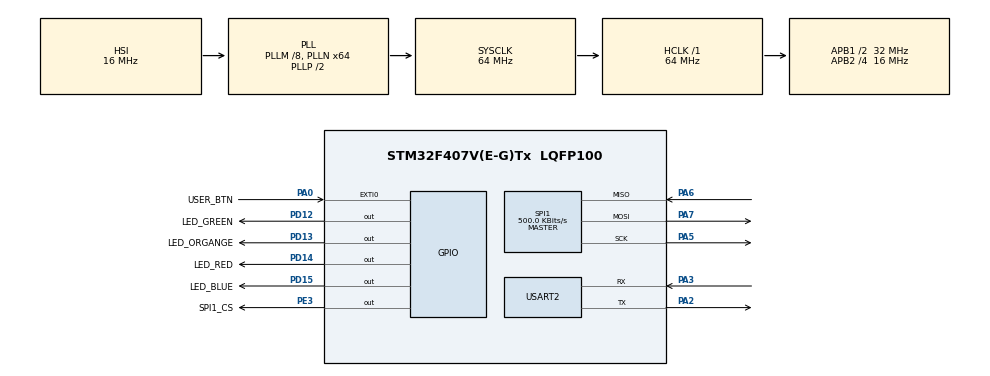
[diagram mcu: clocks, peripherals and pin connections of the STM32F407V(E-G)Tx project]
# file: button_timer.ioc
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ADC1.Channel-0\#ChannelRegularConversion=ADC_CHANNEL_TEMPSENSOR
ADC1.ContinuousConvMode=ENABLE
ADC1.DataAlign=ADC_DATAALIGN_LEFT
ADC1.NbrOfConversionFlag=1
ADC1.Rank-0\#ChannelRegularConversion=1
ADC1.Resolution=ADC_RESOLUTION_12B
ADC1.SamplingTime-0\#ChannelRegularConversion=ADC_SAMPLETIME_3CYCLES
ADC1.master=1
Dma.ADC1.0.Direction=DMA_PERIPH_TO_MEMORY
Dma.ADC1.0.FIFOMode=DMA_FIFOMODE_DISABLE
Dma.ADC1.0.Instance=DMA2_Stream0
Dma.ADC1.0.MemDataAlignment=DMA_MDATAALIGN_HALFWORD
Dma.ADC1.0.MemInc=DMA_MINC_ENABLE
Dma.ADC1.0.Mode=DMA_CIRCULAR
Dma.ADC1.0.PeriphDataAlignment=DMA_PDATAALIGN_HALFWORD
Dma.ADC1.0.PeriphInc=DMA_PINC_DISABLE
Dma.ADC1.0.Priority=DMA_PRIORITY_LOW
Dma.Request0=ADC1
FREERTOS.Tasks01=defaultTask,24,128,StartDefaultTask,Default,NULL,Dynamic,NULL,NULL
Mcu.Family=STM32F4
Mcu.Name=STM32F407V(E-G)Tx
Mcu.Package=LQFP100
NVIC.ADC_IRQn=true\:0\:0\:false\:false\:true\:false\:true\:true
NVIC.DMA2_Stream0_IRQn=true\:0\:0\:false\:false\:true\:false\:false\:true
NVIC.EXTI0_IRQn=true\:0\:0\:false\:false\:true\:false\:true\:true
NVIC.PriorityGroup=NVIC_PRIORITYGROUP_4
NVIC.TIM1_UP_TIM10_IRQn=true\:0\:0\:false\:false\:true\:false\:false\:true
NVIC.TimeBase=TIM1_UP_TIM10_IRQn
NVIC.TimeBaseIP=TIM1
NVIC.USART2_IRQn=true\:0\:0\:false\:false\:true\:false\:true\:true
PA0-WKUP.GPIO_Label=USER_BTN
PA0-WKUP.Signal=GPXTI0
PA13.Mode=Serial_Wire
PA13.Signal=SYS_JTMS-SWDIO
PA14.Mode=Serial_Wire
PA14.Signal=SYS_JTCK-SWCLK
PA2.Mode=Asynchronous
PA2.Signal=USART2_TX
PA3.Mode=Asynchronous
PA3.Signal=USART2_RX
PA5.Mode=Full_Duplex_Master
PA5.Signal=SPI1_SCK
PA6.Mode=Full_Duplex_Master
PA6.Signal=SPI1_MISO
PA7.Mode=Full_Duplex_Master
PA7.Signal=SPI1_MOSI
PD12.GPIO_Label=LED_GREEN
PD12.Signal=GPIO_Output
PD13.GPIO_Label=LED_ORGANGE
PD13.Signal=GPIO_Output
PD14.GPIO_Label=LED_RED
PD14.Signal=GPIO_Output
PD15.GPIO_Label=LED_BLUE
PD15.Signal=GPIO_Output
PE3.GPIO_Label=SPI1_CS
PE3.GPIO_PuPd=GPIO_PULLUP
PE3.PinState=GPIO_PIN_SET
PE3.Signal=GPIO_Output
ProjectManager.HeapSize=0x200
ProjectManager.StackSize=0x400
ProjectManager.TargetToolchain=MDK-ARM V5.27
RCC.48MHZClocksFreq_Value=32000000
RCC.AHBFreq_Value=64000000
RCC.APB1CLKDivider=RCC_HCLK_DIV2
RCC.APB1Freq_Value=32000000
RCC.APB1TimFreq_Value=64000000
RCC.APB2CLKDivider=RCC_HCLK_DIV4
RCC.APB2Freq_Value=16000000
RCC.APB2TimFreq_Value=32000000
RCC.CortexFreq_Value=64000000
RCC.HCLKFreq_Value=64000000
RCC.HSE_VALUE=25000000
RCC.HSI_VALUE=16000000
RCC.LSE_VALUE=32768
RCC.PLLM=8
RCC.PLLN=64
RCC.SYSCLKFreq_VALUE=64000000
RCC.SYSCLKSource=RCC_SYSCLKSOURCE_PLLCLK
RCC.VCOOutputFreq_Value=128000000
SPI1.BaudRatePrescaler=SPI_BAUDRATEPRESCALER_32
SPI1.CLKPhase=SPI_PHASE_2EDGE
SPI1.CLKPolarity=SPI_POLARITY_HIGH
SPI1.CalculateBaudRate=500.0 KBits/s
SPI1.Direction=SPI_DIRECTION_2LINES
SPI1.Mode=SPI_MODE_MASTER
SPI1.VirtualType=VM_MASTER
USART2.VirtualMode=VM_ASYNC
VP_ADC1_TempSens_Input.Mode=IN-TempSens
VP_FREERTOS_VS_CMSIS_V2.Mode=CMSIS_V2
VP_SYS_VS_tim1.Mode=TIM1
board=custom

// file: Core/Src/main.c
/* USER CODE BEGIN Header */
/**
  ******************************************************************************
  * @file           : main.c
  * @brief          : Main program body
  ******************************************************************************
  * @attention
  *
  * <h2><center>&copy; Copyright (c) 2020 STMicroelectronics.
  * All rights reserved.</center></h2>
  *
  * This software component is licensed by ST under BSD 3-Clause license,
  * the "License"; You may not use this file except in compliance with the
  * License. You may obtain a copy of the License at:
  *                        opensource.org/licenses/BSD-3-Clause
  *
  ******************************************************************************
  */
/* USER CODE END Header */
#include "main.h"
#include "cmsis_os.h"
#include "adc.h"
#include "spi.h"
#include "usart.h"
#include "gpio.h"

/* USER CODE BEGIN Includes */
#include "acc_sensor_driver.h"
#include "afproto_user.h"

/* USER CODE END Includes */

/* USER CODE BEGIN PTD */

/* Macro ON/OFF cac testcase */
#define TEST_UART_TX_RX
#define TEST_ACC_SPI

#define DEBOUCING_TIMER_INST    htim2
#define DEBOUCING_VALID_STATE   1

extern volatile uint8_t userBtnPressed;

static __IO uint32_t _debounced_counter = 0;
static uint16_t _active_debouced_pin = 0;

uint8_t _temp_raw_data = 0;
volatile uint8_t  adc_conv_done_flag = 0; // __IO
/* USER CODE END PTD */

/* USER CODE BEGIN PD */
#define GPIOD_ADDRESS  (0x40020C00) //Dia chi bat dau vung nho thuoc GPIOD
#define BSRR_OFFSET    (0x18) // Dia chi thanh ghi Bit Set/Reset
#define BODR_OFFSET    (0x14) //Dia chi thanh ghi luu trang thai output

#define BSRR_ABS_ADDRESS   (GPIOD_ADDRESS + BSRR_OFFSET)  // Tinh dia chi vat ly thanh ghi Bit Set/ReseOutput
#define BODR_ABS_ADDRESS   (GPIOD_ADDRESS + BODR_OFFSET)  // Tinh dia chi vat ly thanh ghi Output

typedef  unsigned int  my_uint32_t;  // Dinh nghia lai kieu du lieu 32-bit interger

// Tao bien con tro toi thanh ghi bsrr
static my_uint32_t*  bsrr_reg_pointer = (uint32_t*)(BSRR_ABS_ADDRESS); // Tao bien con tro toi vung  nho thanh ghi BSRR
static my_uint32_t*  bodr_reg_pointer = (uint32_t*)(BODR_ABS_ADDRESS); // Tao bien con tro toi vung  nho thanh ghi ODR

static my_uint32_t bsrr_value = 0; // Bien luu gia tri thanh ghi BSRR
static my_uint32_t bodr_value = 0; // Bien luu gia tri thanh ghi ODR

static uint8_t led_state =  0; // Khai bao bien interger 8-bit luu trang thai LED

/* Tao macro port va pin cua chan DK LED */
#define   MY_LED_PORT  		GPIOD
#define   MY_LED_PIN  		GPIO_PIN_12

/* USER CODE END PD */

/* USER CODE BEGIN PM */
#define USER_USING_STD_LIB  0
/* USER CODE END PM */

void SystemClock_Config(void);
void MX_FREERTOS_Init(void);

/* USER CODE BEGIN 0 */

void control_led_using_pointer(void)
{
	// Doc gia tri thanh ghi output
	bodr_value = *(bodr_reg_pointer);
	// Xuat nguoc gia tri output
	*(bsrr_reg_pointer) = ~bodr_value;
}

//extern volatile uint8_t recv_done;
/* USER CODE END 0 */

int main(void)
{

  /* MCU Configuration--------------------------------------------------------*/

  /* Reset of all peripherals, Initializes the Flash interface and the Systick. */
  HAL_Init();

  /* Configure the system clock */
  SystemClock_Config();

  /* Initialize all configured peripherals */
  MX_GPIO_Init();
  MX_ADC1_Init();
  MX_USART2_UART_Init();
  MX_SPI1_Init();
  /* USER CODE BEGIN 2 */
//  HAL_TIM_Base_Start_IT(&htim2);

#ifdef TEST_UART_TX_RX
		/* Test gui nhan 1 byte */
//		uart_send_and_receive(0xAA);

		/* Test gui chuoi ky tu qua cong UART*/
	//__sendDebugMsg("adc = %d", 123);
//	afproto_user_run_test();
#endif

#ifdef TEST_ACC_SPI
  acc_sensor_init();
	HAL_Delay(2000);
#endif /* TEST_ACC_SPI */
  /* USER CODE END 2 */

  /* Init scheduler */
  osKernelInitialize();  /* Call init function for freertos objects (in freertos.c) */
  MX_FREERTOS_Init();
  /* Start scheduler */
  osKernelStart();

  /* We should never get here as control is now taken by the scheduler */
  /* Infinite loop */
   while (1)
  {

    /* USER CODE BEGIN 3 */
#ifdef TEST_UART_TX_RX
		/*Test nhan chuoi ky tu*/
//		if (recv_done == 1)
//		{
//			while(1) {};
//		}
#endif  /* TEST_UART_TX_RX */

#ifdef TEST_ACC_SPI
    acc_sensor_reading();
//		memset(_gFrameBuf, 0x00, MAX_FRAME_BUFFER);
//		_gFrameLen = acc_sensor_build_frame(_gFrameBuf);
//		__sendBufferToUart(_gFrameBuf, _gFrameLen);
		HAL_Delay(100);
#endif   /* TEST_ACC_SPI */
#if 0
		static uint32_t _temp_in_votage = 0;

		if (adc_conv_done_flag)
		{
			adc_conv_done_flag = 0;
			_temp_in_votage = adc_convert_to_voltage(_temp_raw_data);
		}
#endif

		#if 0
#if USER_USING_STD_LIB
		control_led_using_stdlib();
#else
		control_led_using_pointer();
#endif		/* USER_USING_STD_LIB */
		HAL_Delay(1000); // Tao tre 1s
		#endif
  }
  /* USER CODE END 3 */
}

void SystemClock_Config(void)
{
  RCC_OscInitTypeDef RCC_OscInitStruct = {0};
  RCC_ClkInitTypeDef RCC_ClkInitStruct = {0};

  /** Configure the main internal regulator output voltage
  */
  __HAL_RCC_PWR_CLK_ENABLE();
  __HAL_PWR_VOLTAGESCALING_CONFIG(PWR_REGULATOR_VOLTAGE_SCALE1);
  /** Initializes the RCC Oscillators according to the specified parameters
  * in the RCC_OscInitTypeDef structure.
  */
  RCC_OscInitStruct.OscillatorType = RCC_OSCILLATORTYPE_HSI;
  RCC_OscInitStruct.HSIState = RCC_HSI_ON;
  RCC_OscInitStruct.HSICalibrationValue = RCC_HSICALIBRATION_DEFAULT;
  RCC_OscInitStruct.PLL.PLLState = RCC_PLL_ON;
  RCC_OscInitStruct.PLL.PLLSource = RCC_PLLSOURCE_HSI;
  RCC_OscInitStruct.PLL.PLLM = 8;
  RCC_OscInitStruct.PLL.PLLN = 64;
  RCC_OscInitStruct.PLL.PLLP = RCC_PLLP_DIV2;
  RCC_OscInitStruct.PLL.PLLQ = 4;
  if (HAL_RCC_OscConfig(&RCC_OscInitStruct) != HAL_OK)
  {
    Error_Handler();
  }
  /** Initializes the CPU, AHB and APB buses clocks
  */
  RCC_ClkInitStruct.ClockType = RCC_CLOCKTYPE_HCLK|RCC_CLOCKTYPE_SYSCLK
                              |RCC_CLOCKTYPE_PCLK1|RCC_CLOCKTYPE_PCLK2;
  RCC_ClkInitStruct.SYSCLKSource = RCC_SYSCLKSOURCE_PLLCLK;
  RCC_ClkInitStruct.AHBCLKDivider = RCC_SYSCLK_DIV1;
  RCC_ClkInitStruct.APB1CLKDivider = RCC_HCLK_DIV2;
  RCC_ClkInitStruct.APB2CLKDivider = RCC_HCLK_DIV4;

  if (HAL_RCC_ClockConfig(&RCC_ClkInitStruct, FLASH_LATENCY_2) != HAL_OK)
  {
    Error_Handler();
  }
}

/* USER CODE BEGIN 4 */
void USER_DEBOUNCE_TMR_IRQHandler(void)
{
	/* Stop deboucing timer */
//	HAL_TIM_Base_Stop_IT(&DEBOUCING_TIMER_INST);

	/* Check if deboucing pin is in valid state */
	if (HAL_GPIO_ReadPin(USER_BTN_GPIO_Port, _active_debouced_pin) == DEBOUCING_VALID_STATE){
		_debounced_counter += 1;
	}
}

void USER_EXTI_IRQHandler(uint16_t pinNo)
{
	/* Save active GPIO Pin*/
	//_active_debouced_pin = pinNo;
	userBtnPressed = 1;
}
/* USER CODE END 4 */

void HAL_TIM_PeriodElapsedCallback(TIM_HandleTypeDef *htim)
{
  if (htim->Instance == TIM1) {
    HAL_IncTick();
  }
}

void Error_Handler(void)
{
}

/************************ (C) COPYRIGHT STMicroelectronics *****END OF FILE****/

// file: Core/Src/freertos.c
/* USER CODE BEGIN Header */
/**
  ******************************************************************************
  * File Name          : freertos.c
  * Description        : Code for freertos applications
  ******************************************************************************
  * @attention
  *
  * <h2><center>&copy; Copyright (c) 2020 STMicroelectronics.
  * All rights reserved.</center></h2>
  *
  * This software component is licensed by ST under Ultimate Liberty license
  * SLA0044, the "License"; You may not use this file except in compliance with
  * the License. You may obtain a copy of the License at:
  *                             www.st.com/SLA0044
  *
  ******************************************************************************
  */
/* USER CODE END Header */

#include "FreeRTOS.h"
#include "task.h"
#include "main.h"
#include "cmsis_os.h"

/* USER CODE BEGIN Includes */
#include "acc_sensor_driver.h"
#include "queue.h"
#include <string.h>
#include "adc.h"

#define ACC_SENSOR_Q_LEN       10
#define ACC_SENSOR_Q_SIZE      (sizeof(Lis3dsh))

static QueueHandle_t acc_queue = NULL;
static Lis3dsh _fetch_data = {0};
static  void __acc_queue_create(void)
{
 acc_queue = xQueueCreate(ACC_SENSOR_Q_LEN, ACC_SENSOR_Q_SIZE);
}

static  void __acc_queue_send(Lis3dsh* sent_data)
{
	xQueueSend(acc_queue, (void*)sent_data, portMAX_DELAY);
}

static  void __acc_fetch_from_queue(Lis3dsh* out_data)
{
	static Lis3dsh _get_data = {0};

	if ( xQueueReceive(acc_queue, &_get_data, portMAX_DELAY) == pdPASS)
	{
		memcpy( (void*)out_data, (void*)&_get_data, sizeof(Lis3dsh));
	}
}

/* USER CODE END Includes */

/* USER CODE BEGIN PD */
void StartMyADCTask(void *argument);
/* USER CODE END PD */

/* Definitions for defaultTask */
osThreadId_t defaultTaskHandle;
osThreadId_t myTaskHandle;

const osThreadAttr_t defaultTask_attributes = {
  .name = "defaultTask",
  .priority = (osPriority_t) osPriorityNormal,
  .stack_size = 128 * 4
};

void StartDefaultTask(void *argument);
void StartMyTask(void *argument);

void MX_FREERTOS_Init(void); /* (MISRA C 2004 rule 8.1) */

void MX_FREERTOS_Init(void) {

  /* Create the thread(s) */
  /* creation of defaultTask */
	__acc_queue_create();
  defaultTaskHandle = osThreadNew(StartDefaultTask, NULL, &defaultTask_attributes);

  myTaskHandle = osThreadNew(StartMyTask, NULL, &defaultTask_attributes);
//	osThreadNew(StartMyADCTask, NULL, &defaultTask_attributes);

}

void StartDefaultTask(void *argument)
{
  /* USER CODE BEGIN StartDefaultTask */
  /* Infinite loop */
  for(;;)
  {
		acc_sensor_reading();
		__acc_queue_send(acc_get_data_pointer());

    osDelay(50);
  }
  /* USER CODE END StartDefaultTask */
}

/* USER CODE BEGIN Application */
void StartMyTask(void *argument)
{
  /* USER CODE BEGIN StartDefaultTask */
  /* Infinite loop */

  for(;;)
  {
		__acc_fetch_from_queue(&_fetch_data);
		__acc_sensor_led_indicator(&_fetch_data);
		__acc_send_dataframe(&_fetch_data);
    osDelay(10);
  }
  /* USER CODE END StartDefaultTask */
}

void StartMyADCTask(void *argument)
{
  /* USER CODE BEGIN StartDefaultTask */
	adc_queue_init();
	HAL_ADC_Start_IT(&hadc1);
  /* Infinite loop */
	uint32_t fetch_data = 0;
	static float cel_c = 0;
  for(;;)
  {
		if (xQueueReceive (adc_queue_get_handle(), &fetch_data, portMAX_DELAY) == pdPASS)
		{
			cel_c = adc_convert_to_temperature(fetch_data);
		}
    osDelay(10);
  }
  /* USER CODE END StartDefaultTask */
}
/* USER CODE END Application */

/************************ (C) COPYRIGHT STMicroelectronics *****END OF FILE****/
